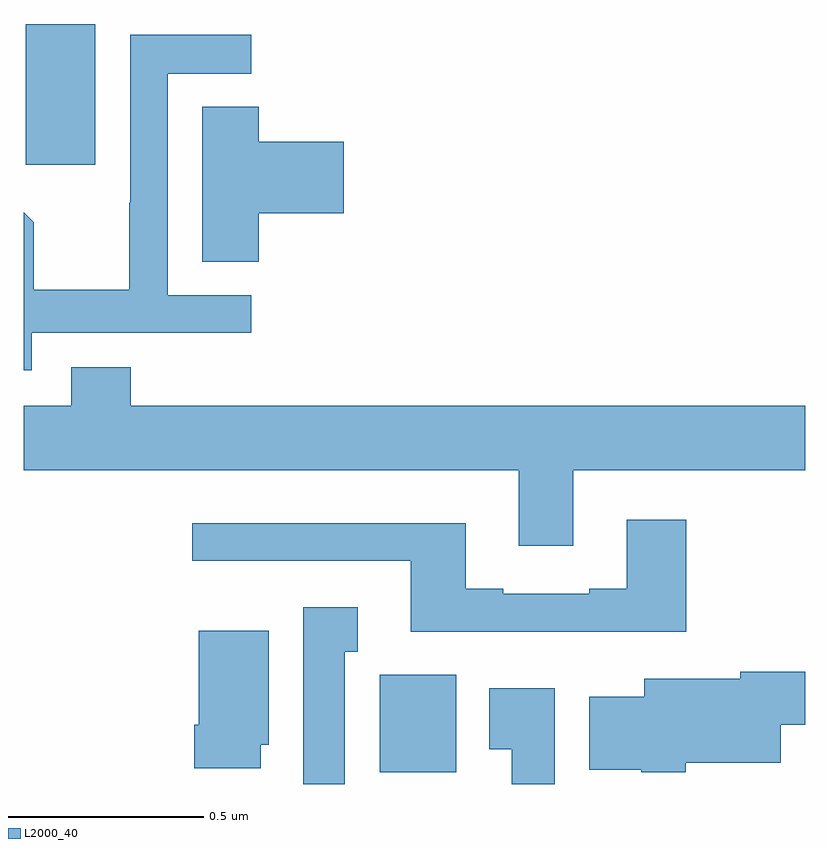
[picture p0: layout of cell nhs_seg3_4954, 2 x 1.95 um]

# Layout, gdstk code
import gdstk
lib = gdstk.Library(unit=1e-6, precision=1e-09)
def R(c, l, rs):  # rectangles x0, y0, x1, y1
    for r in rs: c.add(gdstk.rectangle(r[:2], r[2:], *l))
def P(c, l, *ps):  # polygons
    for p in ps: c.add(gdstk.Polygon(p, *l))
L2000_40 = (2000, 40)

nhs_seg3_4954 = lib.new_cell('nhs_seg3_4954')
R(nhs_seg3_4954, L2000_40, [(172.911,745.43,173.107,745.68), (172.004,746.985,172.183,747.346)])
P(nhs_seg3_4954, L2000_40, [(172.02,746.556),(172.582,746.556),(172.582,746.652),(172.368,746.652),(172.368,747.219),(172.582,747.219),(172.582,747.318),(172.272,747.318),(172.272,746.888),(172.27,746.888),(172.27,746.665),(172.025,746.665),(172.025,746.839),(172,746.864),(172,746.459),(172.02,746.459)],
  [(172.601,746.861),(172.819,746.861),(172.819,747.044),(172.601,747.044),(172.601,747.134),(172.457,747.134),(172.457,746.737),(172.601,746.737)],
  [(173.407,746.204),(174,746.204),(174,746.368),(172.274,746.368),(172.274,746.467),(172.121,746.467),(172.121,746.368),(172,746.368),(172,746.204),(173.267,746.204),(173.267,746.01),(173.407,746.01)],
  [(173.696,746.077),(173.543,746.077),(173.543,745.9),(173.447,745.9),(173.447,745.887),(173.227,745.887),(173.227,745.9),(173.131,745.9),(173.131,746.068),(172.431,746.068),(172.431,745.971),(172.991,745.971),(172.991,745.79),(173.696,745.79)],
  [(172.822,745.739),(172.855,745.739),(172.855,745.852),(172.715,745.852),(172.715,745.4),(172.822,745.4)],
  [(172.606,745.5),(172.627,745.5),(172.627,745.792),(172.448,745.792),(172.448,745.552),(172.436,745.552),(172.436,745.44),(172.606,745.44)],
  [(173.694,745.454),(173.938,745.454),(173.938,745.552),(174,745.552),(174,745.688),(173.834,745.688),(173.834,745.669),(173.588,745.669),(173.588,745.624),(173.447,745.624),(173.447,745.436),(173.58,745.436),(173.58,745.43),(173.694,745.43)],
  [(173.359,745.645),(173.192,745.645),(173.192,745.489),(173.249,745.489),(173.249,745.4),(173.359,745.4)])

lib.write_gds('nhs_seg3_4954.gds')
